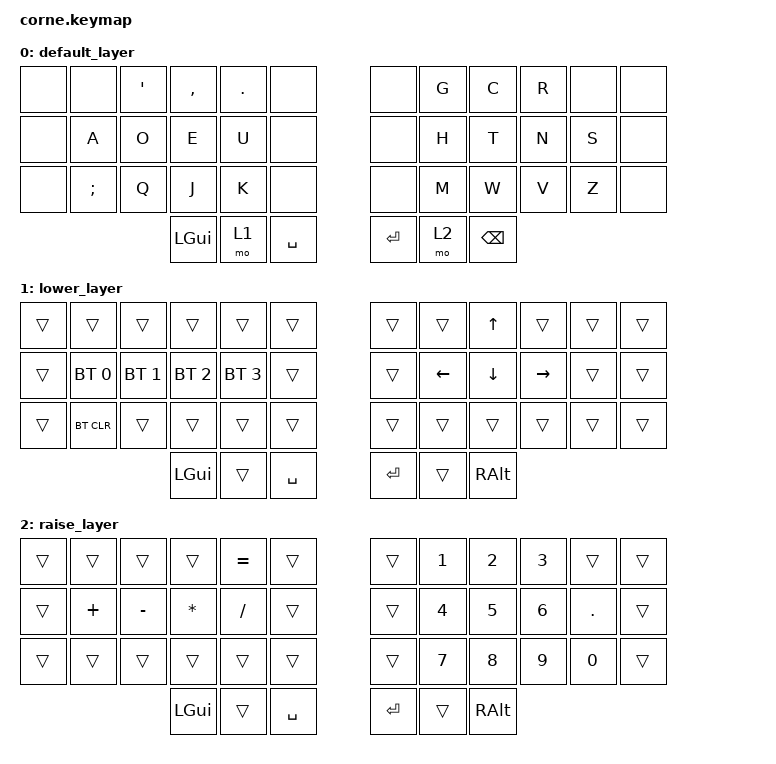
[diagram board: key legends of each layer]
/*
 * Copyright (c) 2020 The ZMK Contributors
 *
 * SPDX-License-Identifier: MIT
 */

#include <behaviors.dtsi>
#include <dt-bindings/zmk/keys.h>
#include <dt-bindings/zmk/bt.h>

/ {
        keymap {
                compatible = "zmk,keymap";

                default_layer {
// -----------------------------------------------------------------------------------------
// |      |     |  '  |  ,  |  .  |     |   |     |  G   |  C  |  R  |     |      |
// |      |  A  |  O  |  E  |  U  |     |   |     |  H   |  T  |  N  |  S  |      |
// |      |  ;  |  Q  |  J  |  K  |     |   |     |  M   |  W  |  V  |  Z  |      |
//                    | GUI | LWR | SPC |   | ENT | RSE  | BSPC |
                        bindings = <
   &none  &none &kp SINGLE_QUOTE &kp COMMA &kp DOT &none   &none  &kp G  &kp C  &kp R  &none  &none
   &none  &kp A &kp O &kp E &kp U &none                    &none  &kp H  &kp T  &kp N  &kp S  &none
   &none  &kp SEMICOLON &kp Q &kp J &kp K &none            &none  &kp M  &kp W  &kp V  &kp Z  &none
                  &kp LGUI &mo 1 &kp SPACE   &kp RET &mo 2 &kp BSPC
                        >;
                };
                lower_layer {
// -----------------------------------------------------------------------------------------
// |      |     |     |     |     |     |   |     |     | UP  |     |     |      |
// |      | BT1 | BT2 | BT3 | BT4 | BT5 |   |     | LFT | DWN | RGT |     |      |
// |      |BTCLR|     |     |     |     |   |     |     |     |     |     |      |
//                    | GUI |     | SPC |   | ENT |     | ALT |
                        bindings = <
   &trans    &trans       &trans       &trans       &trans       &trans        &trans   &trans &kp UP   &trans  &trans &trans
   &trans &bt BT_SEL 0 &bt BT_SEL 1 &bt BT_SEL 2 &bt BT_SEL 3    &trans        &trans &kp LEFT &kp DOWN &kp RIGHT &trans &trans
   &trans  &bt BT_CLR       &trans       &trans       &trans     &trans        &trans   &trans   &trans &trans  &trans &trans
                                    &kp LGUI     &trans       &kp SPACE      &kp RET  &trans   &kp RALT
                        >;
                };

                raise_layer {
// -----------------------------------------------------------------------------------------
// |      |     |     |     |  =  |     |   |     |  1  |  2  |  3  |     |      |
// |      |  +  |  -  |  *  |  /  |     |   |     |  4  |  5  |  6  |  .  |      |
// |      |     |     |     |     |     |   |     |  7  |  8  |  9  |  0  |      |
//                    | GUI |     | SPC |   | ENT |     | ALT |
                        bindings = <
   &trans  &trans    &trans &trans   &kp EQUAL  &trans              &trans &kp N1  &kp N2 &kp N3 &trans  &trans
   &trans  &kp PLUS &kp MINUS &kp ASTRK  &kp FSLH  &trans           &trans &kp N4  &kp N5 &kp N6 &kp DOT &trans
   &trans  &trans   &trans &trans   &trans   &trans                 &trans &kp N7  &kp N8 &kp N9 &kp N0  &trans
                             &kp LGUI &trans   &kp SPACE   &kp RET   &trans    &kp RALT
                        >;
                };
        };
};
